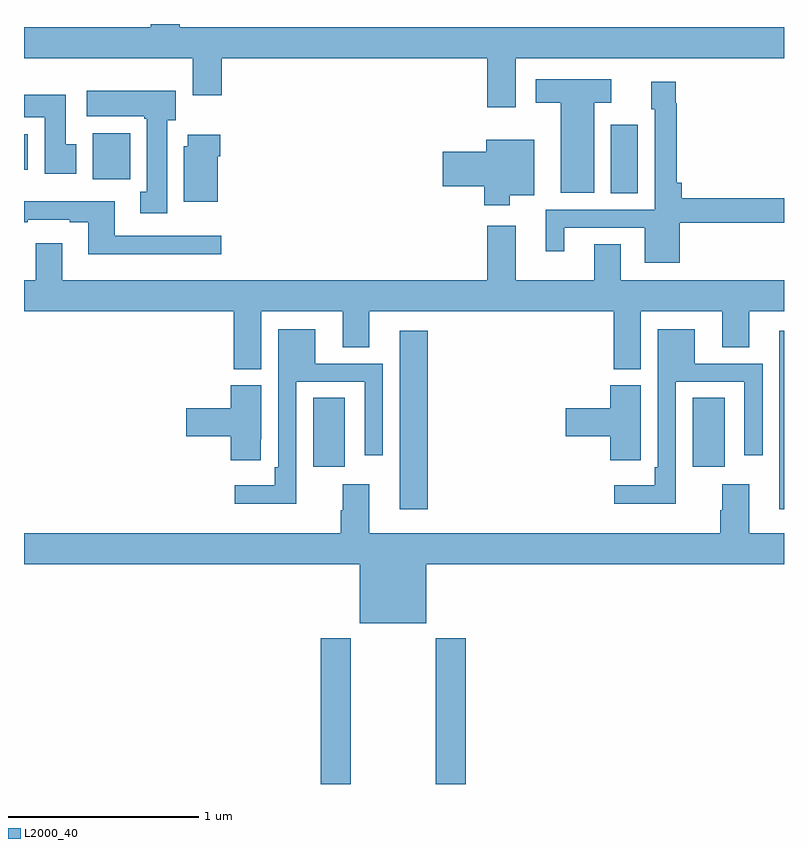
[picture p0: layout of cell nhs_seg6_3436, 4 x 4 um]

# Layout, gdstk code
import gdstk
lib = gdstk.Library(unit=1e-6, precision=1e-09)
def R(c, l, rs):  # rectangles x0, y0, x1, y1
    for r in rs: c.add(gdstk.rectangle(r[:2], r[2:], *l))
def P(c, l, *ps):  # polygons
    for p in ps: c.add(gdstk.Polygon(p, *l))
L2000_40 = (2000, 40)

nhs_seg6_3436 = lib.new_cell('nhs_seg6_3436')
R(nhs_seg6_3436, L2000_40, [(314.561,959.5,314.721,960.268), (315.166,959.5,315.326,960.268), (314.978,960.945,315.125,961.885), (316.976,960.945,317,961.885), (314.522,961.17,314.689,961.532), (316.52,961.17,316.687,961.532), (316.088,962.608,316.231,962.971), (313.361,962.684,313.558,962.926), (313,962.732,313.021,962.92)])
P(nhs_seg6_3436, L2000_40, [(313.82,963.5),(313.667,963.5),(313.667,963.484),(313,963.484),(313,963.32),(313.889,963.32),(313.889,963.126),(314.042,963.126),(314.042,963.32),(315.437,963.32),(315.437,963.063),(315.589,963.063),(315.589,963.32),(317,963.32),(317,963.484),(313.82,963.484)],
  [(316,963.086),(316.09,963.086),(316.09,963.208),(315.693,963.208),(315.693,963.086),(315.824,963.086),(315.824,962.612),(316,962.612)],
  [(316.45,962.454),(317,962.454),(317,962.582),(316.463,962.582),(316.463,962.665),(316.436,962.665),(316.436,963.083),(316.429,963.083),(316.429,963.196),(316.301,963.196),(316.301,963.051),(316.32,963.051),(316.32,962.523),(315.746,962.523),(315.746,962.304),(315.844,962.304),(315.844,962.427),(316.268,962.427),(316.268,962.243),(316.45,962.243)],
  [(313.753,962.994),(313.798,962.994),(313.798,963.148),(313.329,963.148),(313.329,963.014),(313.633,963.014),(313.633,963.001),(313.646,963.001),(313.646,962.618),(313.613,962.618),(313.613,962.505),(313.753,962.505)],
  [(313.276,962.868),(313.219,962.868),(313.219,963.127),(313,963.127),(313,963.008),(313.109,963.008),(313.109,962.712),(313.276,962.712)],
  [(314.02,962.804),(314.033,962.804),(314.033,962.917),(313.862,962.917),(313.862,962.856),(313.841,962.856),(313.841,962.564),(314.02,962.564)],
  [(315.556,962.6),(315.685,962.6),(315.685,962.89),(315.434,962.89),(315.434,962.828),(315.204,962.828),(315.204,962.645),(315.422,962.645),(315.422,962.546),(315.556,962.546)],
  [(314.038,962.385),(313.477,962.385),(313.477,962.566),(313,962.566),(313,962.457),(313.021,962.457),(313.021,962.469),(313.241,962.469),(313.241,962.457),(313.337,962.457),(313.337,962.288),(314.038,962.288)],
  [(314.248,961.988),(314.678,961.988),(314.678,961.798),(314.818,961.798),(314.818,961.988),(316.103,961.988),(316.103,961.684),(316.246,961.684),(316.246,961.988),(316.676,961.988),(316.676,961.798),(316.816,961.798),(316.816,961.988),(317,961.988),(317,962.152),(316.141,962.152),(316.141,962.342),(316.001,962.342),(316.001,962.152),(315.589,962.152),(315.589,962.437),(315.437,962.437),(315.437,962.152),(313.201,962.152),(313.201,962.347),(313.061,962.347),(313.061,962.152),(313,962.152),(313,961.988),(314.105,961.988),(314.105,961.684),(314.248,961.684)],
  [(316.431,961.617),(316.791,961.617),(316.791,961.23),(316.887,961.23),(316.887,961.713),(316.531,961.713),(316.531,961.894),(316.335,961.894),(316.335,961.168),(316.319,961.168),(316.319,961.072),(316.107,961.072),(316.107,960.974),(316.431,960.974)],
  [(314.433,961.617),(314.793,961.617),(314.793,961.23),(314.889,961.23),(314.889,961.713),(314.533,961.713),(314.533,961.894),(314.337,961.894),(314.337,961.168),(314.321,961.168),(314.321,961.072),(314.109,961.072),(314.109,960.974),(314.433,960.974)],
  [(314.247,961.315),(314.248,961.315),(314.248,961.599),(314.087,961.599),(314.087,961.478),(313.854,961.478),(313.854,961.331),(314.087,961.331),(314.087,961.203),(314.247,961.203)],
  [(316.245,961.315),(316.246,961.315),(316.246,961.599),(316.085,961.599),(316.085,961.478),(315.852,961.478),(315.852,961.331),(316.085,961.331),(316.085,961.203),(316.245,961.203)],
  [(315.118,960.656),(317,960.656),(317,960.82),(316.816,960.82),(316.816,961.078),(316.676,961.078),(316.676,960.941),(316.664,960.941),(316.664,960.82),(314.818,960.82),(314.818,961.078),(314.678,961.078),(314.678,960.941),(314.666,960.941),(314.666,960.82),(313,960.82),(313,960.656),(314.768,960.656),(314.768,960.347),(315.118,960.347)])

lib.write_gds('nhs_seg6_3436.gds')
